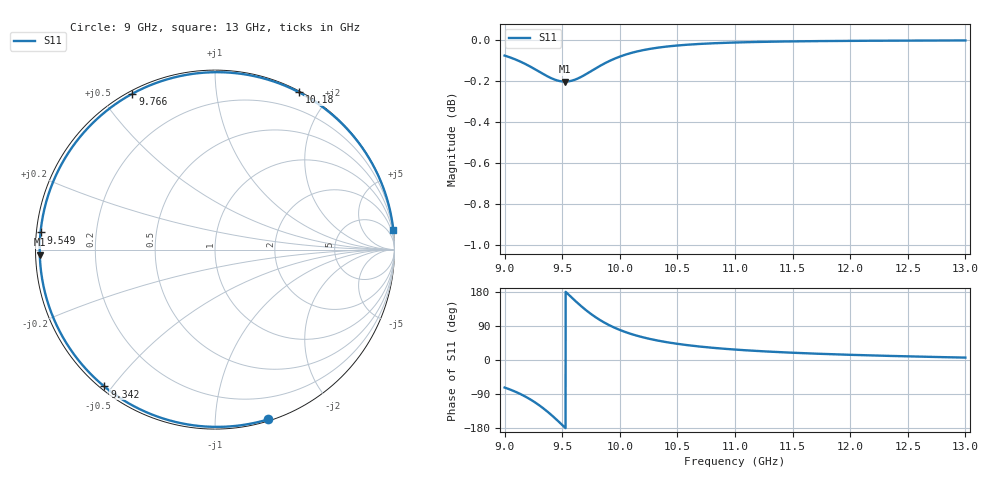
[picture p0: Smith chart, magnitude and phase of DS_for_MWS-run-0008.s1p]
! TOUCHSTONE file generated by CST DESIGN STUDIO
! Date and time: Tue Feb  4 17:11:12 2025
! Project name: C:\Work\MatlabApps\UnitCellOptimizationMatlab\CST\unitcell.cst
! Tree item: Tasks\Sweep1\SPara1\S-Parameters
! Header version: 2024
! Port assignment regex: !\s*Touchstone port\s*([0-9]+)\s*=\s*(CST MWS port|CST DES external port|CST DES block port)\s*(.+)\s* \(\"(.*)\"\)(\s*mode\s*([0-9]+))?.*
! Touchstone port assignment:
! Touchstone port 1 = CST DES external port 1 ("")
# GHz S MA R 50
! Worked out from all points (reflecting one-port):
!   4001 points, 9 GHz to 13 GHz, reference 50 ohm
!   lowest |S11| = -0.2 dB at 9.524 GHz (marker M1), VSWR 85.09, Z = 0.588 - j0.719 ohm
!   phase of S11 starts at -73 deg and turns -281 deg over the sweep
!   S11 on the Smith chart (normalised r, x): 9 GHz: 0.01, -1.36; 9.342 GHz: 0.01, -0.48; 9.549 GHz: 0.01, +0.05; 9.766 GHz: 0.01, +0.60; 10.18 GHz: 0.01, +1.67; 13 GHz: 0, +18
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9  0.9911 -72.6
9.094  0.9889 -83.8
9.2  0.9858 -99.9
9.274  0.9832 -113.9
9.342  0.9807 -129.0
9.385  0.9792 -139.6
9.43  0.978 -151.6
9.5  0.9768 -171.4
9.524  0.9768 -178.4
9.549  0.9769 174.4
9.603  0.9777 158.9
9.664  0.9793 142.3
9.715  0.9811 129.5
9.766  0.9831 117.9
9.815  0.9849 107.9
9.869  0.9868 98.2
9.929  0.9887 88.8
10  0.9905 79.3
10.085  0.9923 70.0
10.176  0.9938 61.8
10.324  0.9954 51.6
10.5  0.9967 42.7
10.722  0.9977 34.6
11  0.9984 27.5
11.5  0.999 19.2
12  0.9993 13.7
12.5  0.9994 9.6
13  0.9995 6.3
